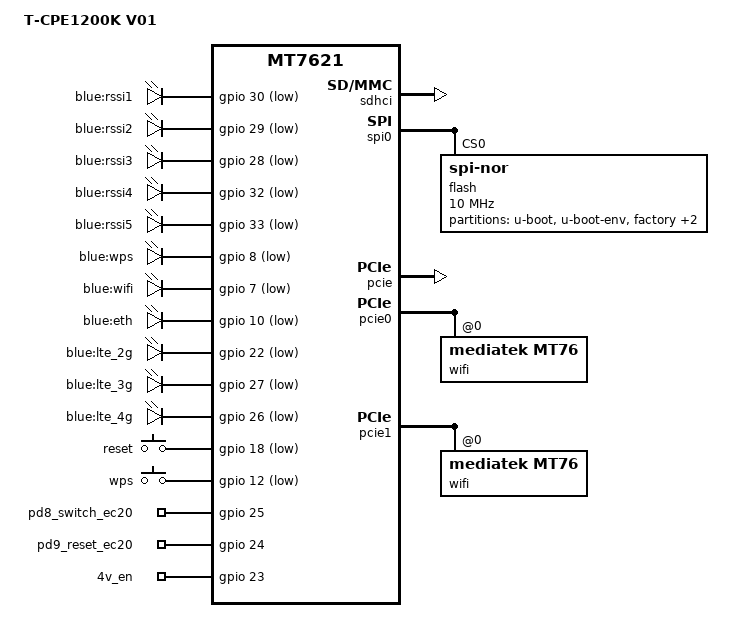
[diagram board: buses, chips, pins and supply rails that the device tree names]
/dts-v1/;

#include "mt7621.dtsi"

#include <dt-bindings/gpio/gpio.h>
#include <dt-bindings/input/input.h>

/ {
	compatible = "xwrt,t-cpe1200k-v01", "mediatek,mt7621-soc";
	model = "T-CPE1200K V01";

	aliases {
		led-boot = &led_wps;
		led-failsafe = &led_wps;
		led-running = &led_wps;
		led-upgrade = &led_wps;
		label-mac-device = &gmac0;
	};

	chosen {
		bootargs = "console=ttyS0,57600";
	};

	leds {
		compatible = "gpio-leds";

		rssi1 {
			label = "blue:rssi1";
			gpios = <&gpio 30 GPIO_ACTIVE_LOW>;
		};

		rssi2 {
			label = "blue:rssi2";
			gpios = <&gpio 29 GPIO_ACTIVE_LOW>;
		};

		rssi3 {
			label = "blue:rssi3";
			gpios = <&gpio 28 GPIO_ACTIVE_LOW>;
		};

		rssi4 {
			label = "blue:rssi4";
			gpios = <&gpio 32 GPIO_ACTIVE_LOW>;
		};

		rssi5 {
			label = "blue:rssi5";
			gpios = <&gpio 33 GPIO_ACTIVE_LOW>;
		};

		led_wps: wps {
			label = "blue:wps";
			gpios = <&gpio 8 GPIO_ACTIVE_LOW>;
		};

		wifi {
			label = "blue:wifi";
			gpios = <&gpio 7 GPIO_ACTIVE_LOW>;
		};

		eth {
			label = "blue:eth";
			gpios = <&gpio 10 GPIO_ACTIVE_LOW>;
		};

		lte_2g {
			label = "blue:lte_2g";
			gpios = <&gpio 22 GPIO_ACTIVE_LOW>;
		};

		lte_3g {
			label = "blue:lte_3g";
			gpios = <&gpio 27 GPIO_ACTIVE_LOW>;
		};

		lte_4g {
			label = "blue:lte_4g";
			gpios = <&gpio 26 GPIO_ACTIVE_LOW>;
		};
	};

	keys {
		compatible = "gpio-keys";

		reset {
			label = "reset";
			gpios = <&gpio 18 GPIO_ACTIVE_LOW>;
			linux,code = <KEY_RESTART>;
		};

		wps {
			label = "wps";
			gpios = <&gpio 12 GPIO_ACTIVE_LOW>;
			linux,code = <KEY_WPS_BUTTON>;
		};
	};

	gpio_export {
		compatible = "gpio-export";
		#size-cells = <0>;

		pd8_switch_ec20 {
			gpio-export,name = "pd8_switch_ec20";
			gpio-export,output = <1>;
			gpios = <&gpio 25 GPIO_ACTIVE_HIGH>;
		};

		pd9_reset_ec20 {
			gpio-export,name = "pd9_reset_ec20";
			gpio-export,output = <1>;
			gpios = <&gpio 24 GPIO_ACTIVE_HIGH>;
		};

		4v_en {
			gpio-export,name = "4v_en";
			gpio-export,output = <1>;
			gpios = <&gpio 23 GPIO_ACTIVE_HIGH>;
		};
	};
};

&sdhci {
	status = "okay";
};

&spi0 {
	status = "okay";

	flash@0 {
		compatible = "jedec,spi-nor";
		reg = <0>;
		spi-max-frequency = <10000000>;

		partitions {
			compatible = "fixed-partitions";
			#address-cells = <1>;
			#size-cells = <1>;

			partition@0 {
				label = "u-boot";
				reg = <0x0 0x30000>;
				read-only;
			};

			partition@30000 {
				label = "u-boot-env";
				reg = <0x30000 0x10000>;
				read-only;
			};

			factory: partition@40000 {
				label = "factory";
				reg = <0x40000 0x10000>;
			};

			partition@50000 {
				compatible = "denx,uimage";
				label = "firmware";
				reg = <0x50000 0xfa0000>;
			};

			partition@ff0000 {
				label = "fota";
				reg = <0xff0000 0x10000>;
			};
		};
	};
};

&pcie {
	status = "okay";
};

&pcie0 {
	wifi@0,0 {
		compatible = "mediatek,mt76";
		reg = <0x0 0 0 0 0>;
		mediatek,mtd-eeprom = <&factory 0x0>;
		ieee80211-freq-limit = <2400000 2500000>;
	};
};

&pcie1 {
	wifi@0,0 {
		compatible = "mediatek,mt76";
		reg = <0x0 0 0 0 0>;
		mediatek,mtd-eeprom = <&factory 0x8000>;
		ieee80211-freq-limit = <5000000 6000000>;
	};
};

&ethernet {
	pinctrl-0 = <&mdio_pins>, <&rgmii1_pins>;
};

&gmac0 {
	mtd-mac-address = <&factory 0x28>;
};

&switch0 {
	ports {
		port@0 {
			status = "okay";
			label = "wan";
			mtd-mac-address = <&factory 0x28>;
			mtd-mac-address-increment = <2>;
		};

		port@1 {
			status = "okay";
			label = "lan3";
		};

		port@2 {
			status = "okay";
			label = "lan2";
		};

		port@3 {
			status = "okay";
			label = "lan1";
		};
	};
};

&state_default {
	gpio {
		groups = "wdt", "rgmii2", "uart2", "uart3";
		function = "gpio";
	};
};
